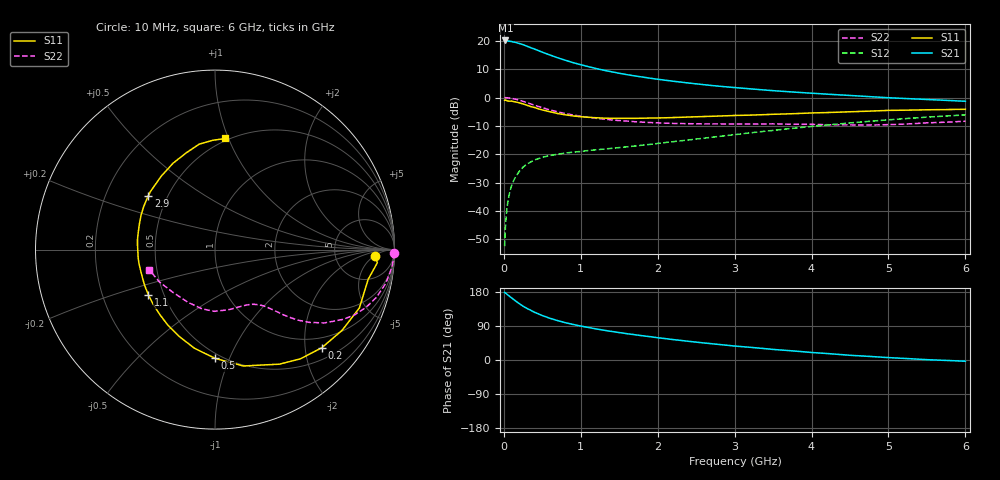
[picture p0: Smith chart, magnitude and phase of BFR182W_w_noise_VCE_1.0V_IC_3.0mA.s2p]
! (c) 2017  Infineon Technologies AG, Munich
! Infineon Technologies  Discrete & RF Semiconductors
! BFR182W
! VCE =  1.0 V,  IC =  3.0 mA
! Common Emitter S-Parameters:  Jan 2017
# GHz  S  MA  R  50
!  f  S11  S21  S12  S22
! GHz  MAG  ANG  MAG  ANG  MAG  ANG  MAG  ANG
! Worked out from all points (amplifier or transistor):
!   77 points, 10 MHz to 6 GHz, reference 50 ohm
!   highest |S21| = 20.1 dB at 20 MHz (marker M1)
!   |S21| within 3 dB of that: start of sweep to 395.2 MHz
!   unconditionally stable (mu >= 1): 1.515 GHz to 3.407 GHz
!   at 130 MHz: K = 0.12, MSG = 24.4 dB, |S12| = -29.2 dB
!   at 2.2 GHz: K = 1.09, MAG = 8.8 dB, |S12| = -15.6 dB
!   at 6 GHz: K = 0.89, MSG = 2.4 dB, |S12| = -6.1 dB
!   lowest NFmin = 0.82 dB at 450 MHz
!   S11 on the Smith chart (normalised r, x): 10 MHz: 15, -6; 200 MHz: 0.75, -2.36; 500 MHz: 0.46, -0.89; 1.1 GHz: 0.41, -0.26; 2.9 GHz: 0.39, +0.31; 6 GHz: 0.48, +0.97
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0.01  0.8913 -2.4  10 178.5  0.0024 87.9  1 -1.1
0.02  0.9075 -4.6  10.16 177.0  0.005 96.4  0.9966 -2.4
0.05  0.8693 -11.0  9.979 172.0  0.0139 84.5  0.9903 -5.8
0.1  0.8675 -22.0  9.735 164.0  0.0278 78.5  0.9696 -11.3
0.15  0.839 -32.4  9.396 156.2  0.0396 72.1  0.9379 -16.5
0.2  0.808 -42.6  8.981 148.9  0.0498 67.8  0.9005 -21.0
0.25  0.7724 -52.0  8.557 142.0  0.0594 63.1  0.8582 -25.1
0.3  0.7321 -60.7  8.05 136.1  0.0672 59.4  0.8137 -28.5
0.4  0.6675 -76.3  7.151 125.7  0.0796 53.3  0.7327 -33.9
0.5  0.6057 -90.0  6.312 117.3  0.0886 49.2  0.6628 -37.7
0.6  0.5614 -101.8  5.621 110.0  0.0951 46.4  0.6062 -40.4
0.7  0.5231 -112.5  5.023 103.9  0.1003 44.7  0.5595 -42.3
0.8  0.4959 -122.1  4.545 98.5  0.1051 43.9  0.5227 -43.8
0.9  0.4744 -130.6  4.128 93.8  0.1091 43.3  0.493 -44.9
1.1  0.4488 -145.7  3.503 85.7  0.1167 43.6  0.4484 -47.0
1.6  0.4305 -174.0  2.535 69.4  0.1354 46.4  0.3853 -52.7
2.1  0.4399 165.2  2.021 56.4  0.1611 50.0  0.3541 -61.1
2.9  0.4776 140.9  1.542 38.9  0.2141 52.5  0.3427 -77.8
3.1  0.4865 135.7  1.463 35.2  0.2301 52.3  0.3417 -82.0
4.1  0.5395 113.9  1.171 18.5  0.3189 48.2  0.3346 -105.3
5.1  0.5963 97.0  0.979 5.3  0.4142 39.7  0.3367 -137.4
6  0.6217 84.7  0.861 -3.3  0.4947 30.2  0.3832 -162.9
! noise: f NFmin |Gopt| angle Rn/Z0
0.45  0.82  0.39  31  0.2
0.9  0.95  0.3  57  0.2
1.9  1.6  0.25  149  0.12
2.4  1.92  0.23  170  0.17
